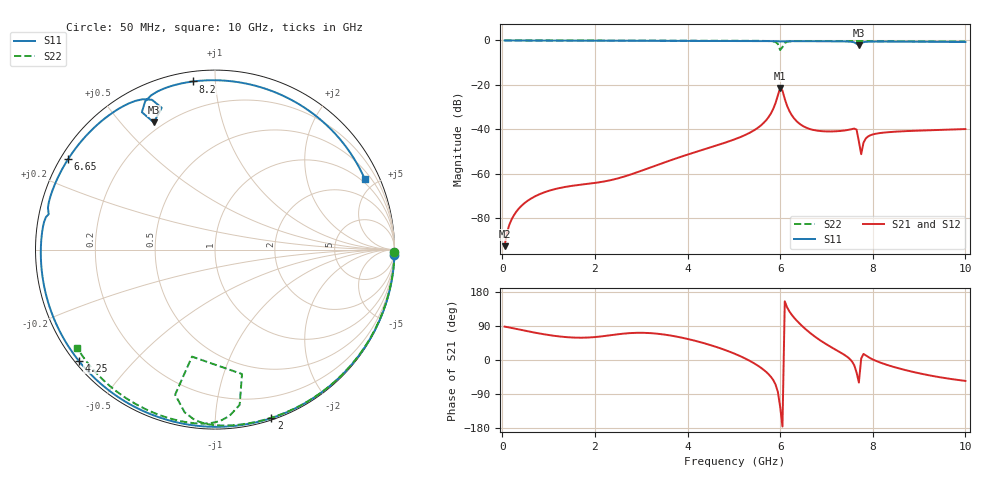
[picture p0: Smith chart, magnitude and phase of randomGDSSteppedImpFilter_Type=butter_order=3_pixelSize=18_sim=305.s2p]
! freq	dB(S11)	phase(S11)	dB(S12)	phase(S12)
!  dB(S21)	phase(S21)	dB(S22)	phase(S22)
!S-par simulation data
#  GHz  S  DB  R 50
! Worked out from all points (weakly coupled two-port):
!   200 points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, 50 MHz to 10 GHz, reference 50 ohm
!   highest |S21| = -21.36 dB at 6 GHz (marker M1); lowest = -92.6 dB at 50 MHz (marker M2)
!   lowest |S11| = -2.1 dB at 7.7 GHz (marker M3), VSWR 8.38, Z = 8.28 + j30.8 ohm
!   |S11| at or under -10 dB: nowhere
!   |S22| runs from -4.3 to 0.0 dB; largest |S21 - S12| = 0
!   S11 on the Smith chart (normalised r, x): 50 MHz: 0, -61; 2 GHz: 0.02, -1.39; 4.25 GHz: 0.01, -0.36; 6.65 GHz: 0.02, +0.28; 8.2 GHz: 0.05, +0.88; 10 GHz: 0.82, +4.33
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0.05  -0.00 -1.9  -92.56 88.1  -92.56 88.1  -0.00 -0.8
0.8  -0.03 -29.6  -69.22 70.0  -69.22 70.0  -0.02 -13.3
1.75  -0.08 -63.1  -64.75 58.9  -64.75 58.9  -0.04 -28.8
2  -0.09 -71.6  -64.10 60.5  -64.10 60.5  -0.04 -32.8
3.4  -0.14 -115.9  -55.63 68.7  -55.63 68.7  -0.07 -54.8
4.25  -0.18 -140.9  -49.70 47.9  -49.70 47.9  -0.10 -67.8
5.05  -0.22 -163.9  -44.23 14.9  -44.23 14.9  -0.13 -79.9
5.7  -0.27 177.0  -35.83 -31.7  -35.83 -31.7  -0.22 -91.8
5.9  -0.31 170.8  -28.21 -64.5  -28.21 -64.5  -0.70 -100.6
6  -0.47 167.9  -21.36 -123.3  -21.36 -123.3  -4.30 -102.1
6.05  -0.44 167.4  -22.56 -175.7  -22.56 -175.7  -2.98 -77.8
6.3  -0.32 159.5  -35.05 111.8  -35.05 111.8  -0.30 -91.3
6.65  -0.34 148.4  -39.91 71.1  -39.91 71.1  -0.22 -98.5
6.7  -0.35 146.8  -40.18 66.3  -40.18 66.3  -0.22 -99.3
7.6  -0.86 112.8  -39.65 -13.8  -39.65 -13.8  -0.26 -112.3
7.7  -2.08 115.7  -45.45 -59.5  -45.45 -59.5  -0.27 -113.7
7.75  -1.24 118.0  -51.19 4.0  -51.19 4.0  -0.28 -114.3
7.85  -0.63 112.4  -44.07 12.1  -44.07 12.1  -0.28 -115.7
8.2  -0.49 97.5  -41.54 -8.5  -41.54 -8.5  -0.31 -120.3
8.35  -0.50 91.6  -41.24 -14.6  -41.24 -14.6  -0.32 -122.3
9.15  -0.58 60.0  -40.46 -38.8  -40.46 -38.8  -0.40 -132.9
10  -0.70 25.2  -39.86 -55.1  -39.86 -55.1  -0.51 -144.3
